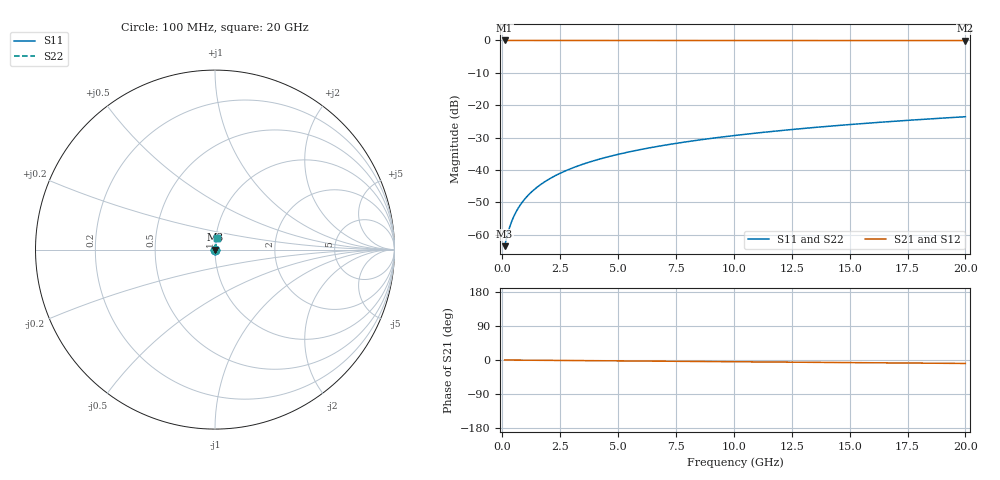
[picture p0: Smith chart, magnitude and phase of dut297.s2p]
! Touchstone file exported from HFSS 2026.1.0
!  File:  C:/ffzhzh/LocalFiles/Ansys_Project_Files/temp_train_TSV_297_1782993902_41620.aedt
!  Generated:  08:07:09 PM Jul  2, 2026
!  Design:  TSV
!  Project:  temp_train_TSV_297_1782993902_41620
! Variables:
!  h_bsmrdl = 2um
!  h_ox = 20um
!  h_rdl = 5um
!  h_sub = 84.35um
!  h_tmrdl = 5um
!  h_tsv = 84.35um
!  h_via = 3um
!  l_bsmrdl = 300um
!  l_sub = 408.6um
!  l_tmrdl = 200um
!  m_sub = 200um
!  pitch = 33.97um
!  r_tsv = 4.3um
!  s_tmrdl = 10um
!  w_bsmrdl = 18um
!  w_sub = 500um
!  w_tmrdl = 12um
!  x_tsv_center1 = 206um
!  x_tsv_center2 = 524um
!  x_tsv_center3 = 736um
!  x_tsv_center4 = 1054um
!  x_tsv_center5 = 1266um
!  x_tsv_center6 = 1584um
# GHz S MA R 50.000000
! Terminal data exported
! Port[1] = TSV1_1_T1
! Port[2] = TSV1_1_T2
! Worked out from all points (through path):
!   200 points, 100 MHz to 20 GHz, reference 50 ohm
!   highest |S21| = 0.00 dB at 100 MHz (marker M1); lowest = 0.0 dB at 20 GHz (marker M2)
!   group delay of S21, straight-line fit = 1.26 ps
!   lowest |S11| = -63.5 dB at 100 MHz (marker M3), VSWR 1.00, Z = 50.1 + j0.0377 ohm
!   |S11| at or under -10 dB: start of sweep to end of sweep
!   |S22| runs from -63.5 to -23.6 dB; largest |S21 - S12| = 3.1e-15
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0.1  0.0006677 34.3  0.9994 -0.0  0.9994 -0.0  0.0006677 34.3
! Gamma 0 0 0 0
! Port Impedance 50 0 50 0
0.2  0.0009368 53.0  0.9994 -0.1  0.9994 -0.1  0.0009368 53.0
0.3  0.001256 62.5  0.9994 -0.1  0.9994 -0.1  0.001256 62.5
0.4  0.001592 68.0  0.9994 -0.2  0.9994 -0.2  0.001592 68.0
0.5  0.001933 71.5  0.9994 -0.2  0.9994 -0.2  0.001933 71.5
0.6  0.002277 73.9  0.9994 -0.3  0.9994 -0.3  0.002277 73.9
0.8  0.002971 77.1  0.9993 -0.4  0.9993 -0.4  0.002971 77.1
1.1  0.004018 79.8  0.9993 -0.5  0.9993 -0.5  0.004018 79.8
1.5  0.00542 81.7  0.9993 -0.7  0.9993 -0.7  0.00542 81.7
1.8  0.006471 82.5  0.9992 -0.8  0.9992 -0.8  0.006471 82.5
2.1  0.00752 83.0  0.9992 -1.0  0.9992 -1.0  0.00752 83.0
2.7  0.009608 83.5  0.9991 -1.3  0.9991 -1.3  0.009608 83.5
3.5  0.01236 83.7  0.9989 -1.6  0.9989 -1.6  0.01236 83.7
4.2  0.01475 83.7  0.9988 -2.0  0.9988 -2.0  0.01475 83.7
5  0.01745 83.6  0.9986 -2.3  0.9986 -2.3  0.01745 83.6
5.9  0.02046 83.4  0.9984 -2.7  0.9984 -2.7  0.02046 83.4
6.8  0.02346 83.2  0.9982 -3.1  0.9982 -3.1  0.02346 83.2
8.3  0.02841 82.8  0.9979 -3.8  0.9979 -3.8  0.02841 82.8
10.1  0.03433 82.3  0.9976 -4.6  0.9976 -4.6  0.03433 82.3
13.4  0.04511 81.2  0.9969 -6.1  0.9969 -6.1  0.04511 81.2
16.7  0.05583 80.0  0.9961 -7.6  0.9961 -7.6  0.05583 80.0
20  0.06645 78.7  0.9952 -9.1  0.9952 -9.1  0.06645 78.7
